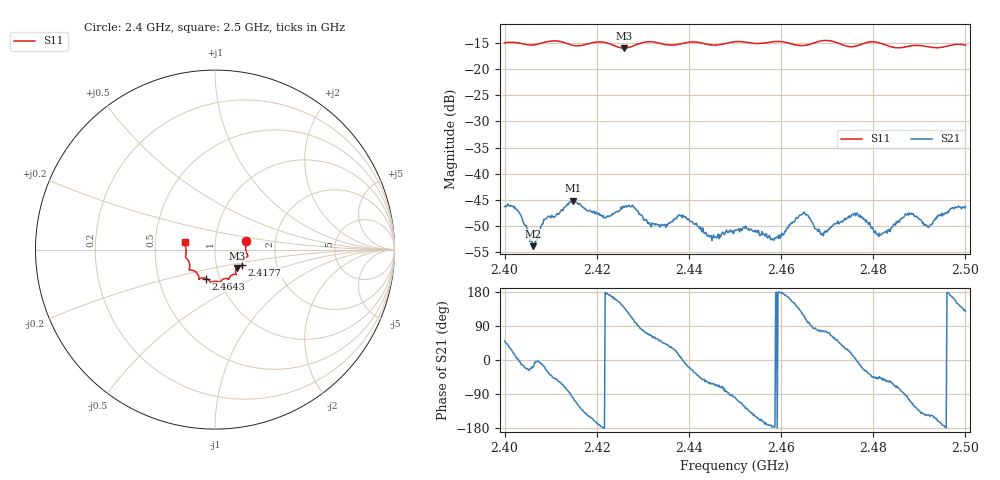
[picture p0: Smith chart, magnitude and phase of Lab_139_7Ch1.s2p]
# Hz S RI R 50
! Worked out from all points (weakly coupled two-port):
!   601 points, 2.4 GHz to 2.5 GHz, reference 50 ohm
!   highest |S21| = -45.14 dB at 2.4148 GHz (marker M1); lowest = -53.9 dB at 2.4062 GHz (marker M2)
!   lowest |S11| = -15.9 dB at 2.426 GHz (marker M3), VSWR 1.38, Z = 62.2 - j13.2 ohm
!   |S11| at or under -10 dB: start of sweep to end of sweep
!   S12 and S22 are empty: the file has one direction only
!   S11 on the Smith chart (normalised r, x): 2.4 GHz: 1.41, +0.14; 2.4177 GHz: 1.33, -0.23; 2.4643 GHz: 0.86, -0.29; 2.5 GHz: 0.72, +0.06
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2.4e9  0.1728 0.048  0.00311 0.00373  0 0  0 0
2.403e9  0.1754 0.035  0.00431 6.81e-05  0 0  0 0
2.406167e9  0.1707 0.00104  0.00191 -0.000653  0 0  0 0
2.409e9  0.1804 -0.0293  0.00332 -0.00164  0 0  0 0
2.414833e9  0.161 -0.0531  -0.000873 -0.00546  0 0  0 0
2.416667e9  0.1524 -0.0732  -0.00318 -0.00371  0 0  0 0
2.417667e9  0.1512 -0.0846  -0.0035 -0.00283  0 0  0 0
2.426e9  0.121 -0.1038  -0.00345 0.00326  0 0  0 0
2.433333e9  0.114 -0.1377  0.00192 0.00261  0 0  0 0
2.438333e9  0.0804 -0.1558  0.00395 0.000329  0 0  0 0
2.444667e9  0.059 -0.1607  0.00129 -0.0022  0 0  0 0
2.45e9  0.0281 -0.1818  -0.000401 -0.00282  0 0  0 0
2.458333e9  -0.0215 -0.1825  -0.0023 -0.000189  0 0  0 0
2.464333e9  -0.0493 -0.1611  -0.00245 0.00319  0 0  0 0
2.466667e9  -0.076 -0.1585  1.84e-05 0.00345  0 0  0 0
2.469167e9  -0.0894 -0.1657  0.000601 0.00247  0 0  0 0
2.476167e9  -0.1177 -0.1176  0.00395 0.00021  0 0  0 0
2.480667e9  -0.1443 -0.1109  0.00183 -0.00189  0 0  0 0
2.483333e9  -0.1405 -0.0903  0.00159 -0.00234  0 0  0 0
2.487333e9  -0.1567 -0.0521  -0.000346 -0.00399  0 0  0 0
2.492167e9  -0.1616 -0.024  -0.00258 -0.0018  0 0  0 0
2.5e9  -0.1645 0.0437  -0.00304 0.00379  0 0  0 0
